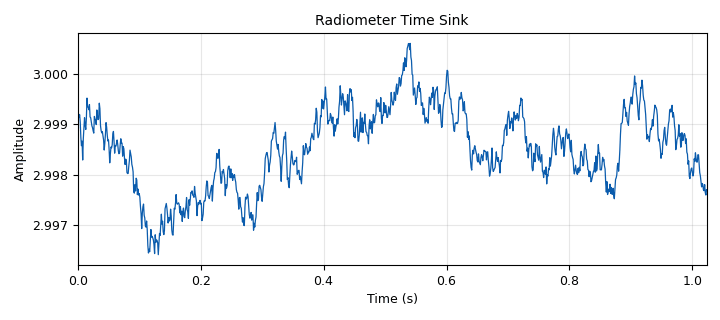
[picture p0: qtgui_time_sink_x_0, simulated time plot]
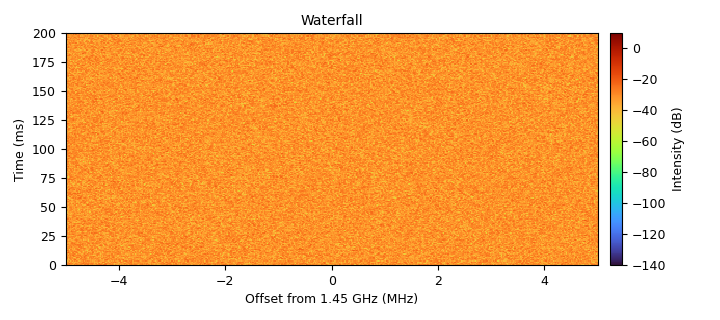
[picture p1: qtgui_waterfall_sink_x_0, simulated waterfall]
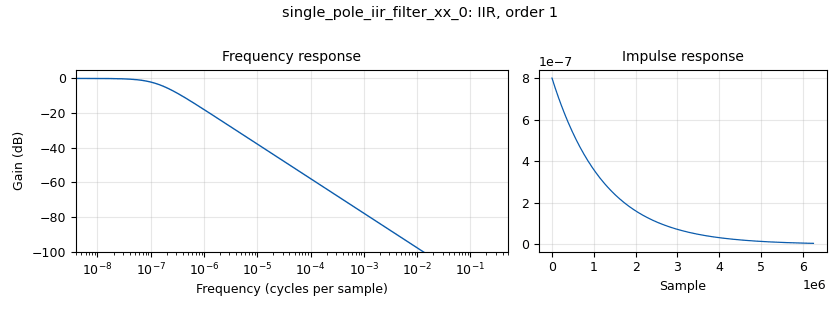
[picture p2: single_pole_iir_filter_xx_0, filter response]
options:
  parameters:
    generate_options: qt_gui
    id: gnu_radio_controller
    output_language: python
    title: Radiometer control script
  states: {}

blocks:
- name: IntegrationTime
  id: variable_qtgui_range
  parameters:
    gui_hint: 6,0,1,1
    label: Integration Time
    start: '0'
    step: '0.2'
    stop: '10'
    value: '8'
  states: {}
- name: IntegrationTimeLong
  id: variable
  parameters:
    value: '8'
  states: {}
- name: IntegrationTimeShort
  id: variable
  parameters:
    value: '0.8'
  states: {}
- name: average_power
  id: variable
  parameters:
    value: '3'
  states: {}
- name: center_frequency
  id: variable
  parameters:
    value: 1450E6
  states: {}
- name: csv_file_path
  id: variable
  parameters:
    value: '"../../../data/radiometer_data_1"'
  states: {}
- name: file_write_rate
  id: variable
  parameters:
    value: '10'
  states: {}
- name: ingest_data
  id: variable_qtgui_chooser
  parameters:
    gui_hint: 6,1,1,1
    label: Ingest data ?
    label0: Stop
    label1: Start
    num_opts: '2'
    option0: '0'
    option1: '1'
    type: int
    value: '0'
    widget: radio_buttons
  states: {}
- name: intermediate_rate
  id: variable
  parameters:
    value: '1000'
  states: {}
- name: local_oscillator
  id: variable
  parameters:
    value: 1.0E9
  states: {}
- name: noise_atm_zenith
  id: variable_qtgui_range
  parameters:
    gui_hint: 2,0,1,2
    label: Atm Zenith
    start: '0'
    step: '0.2'
    stop: '10'
    value: '1'
  states: {}
- name: noise_cmb
  id: variable_qtgui_range
  parameters:
    gui_hint: 0,0,1,2
    label: 'CMB            '
    start: '0'
    step: '0.2'
    stop: '10'
    value: '1'
  states: {}
- name: noise_sys
  id: variable_qtgui_range
  parameters:
    gui_hint: 1,0,1,2
    label: 'System       '
    start: '0'
    step: '0.2'
    stop: '10'
    value: '1'
  states: {}
- name: rho
  id: variable
  parameters:
    value: '0'
  states: {}
- name: samp_rate
  id: variable
  parameters:
    value: 10E6
  states: {}
- name: std_dev_power
  id: variable
  parameters:
    value: '0.000025'
  states: {}
- name: analog_noise_source_x_0
  id: analog_noise_source_x
  parameters:
    amp: noise_cmb
    noise_type: analog.GR_UNIFORM
    seed: '0'
    type: complex
  states: {}
- name: analog_noise_source_x_0_0
  id: analog_noise_source_x
  parameters:
    amp: noise_sys
    noise_type: analog.GR_UNIFORM
    seed: '0'
    type: complex
  states: {}
- name: analog_noise_source_x_0_0_0
  id: analog_noise_source_x
  parameters:
    amp: noise_atm_zenith
    noise_type: analog.GR_UNIFORM
    seed: '0'
    type: complex
  states: {}
- name: blocks_add_xx_0
  id: blocks_add_xx
  parameters:
    num_inputs: '3'
    type: complex
  states: {}
- name: blocks_complex_to_mag_squared_1
  id: blocks_complex_to_mag_squared
  parameters: {}
  states: {}
- name: blocks_file_sink_0
  id: blocks_file_sink
  parameters:
    file: csv_file_path
    type: float
  states: {state: disabled}
- name: blocks_keep_one_in_n_0
  id: blocks_keep_one_in_n
  parameters:
    n: int(samp_rate/intermediate_rate)
    type: float
  states: {}
- name: blocks_keep_one_in_n_0_0
  id: blocks_keep_one_in_n
  parameters:
    n: int(intermediate_rate/file_write_rate)
    type: float
  states: {}
- name: blocks_moving_average_xx_0
  id: blocks_moving_average_xx
  parameters:
    length: '1000'
    max_iter: '4000'
    scale: '0.001'
    type: float
  states: {}
- name: blocks_multiply_const_vxx_0
  id: blocks_multiply_const_vxx
  parameters:
    const: '1'
    type: complex
  states: {}
- name: blocks_null_sink_0
  id: blocks_null_sink
  parameters:
    type: float
  states: {}
- name: blocks_selector_0
  id: blocks_selector
  parameters:
    enabled: 'True'
    input_index: '0'
    num_inputs: '1'
    num_outputs: '2'
    output_index: ingest_data
    type: float
  states: {}
- name: import_0
  id: import
  parameters:
    imports: import datetime
  states: {}
- name: import_0_0
  id: import
  parameters:
    imports: import numpy as np
  states: {}
- name: moving_average
  id: qtgui_number_sink
  parameters:
    graph_type: qtgui.NUM_GRAPH_NONE
    gui_hint: 7,1,1,1
    name: Moving Average
    type: float
  states: {}
- name: note_0
  id: note
  parameters:
    note: Simulation circuit
  states: {}
- name: note_0_0
  id: note
  parameters:
    note: airspy r2 input, bias tee off, IQ output
  states: {}
- name: note_1
  id: note
  parameters:
    note: Blocks start
  states: {}
- name: num_sink_1
  id: qtgui_number_sink
  parameters:
    graph_type: qtgui.NUM_GRAPH_NONE
    gui_hint: 7,0,1,1
    name: Power undecimated
    type: float
  states: {}
- name: osmosdr_source_0
  id: osmosdr_source
  parameters:
    args: airspy=0,bias=0,pack=0
    bb_gain0: '10'
    freq0: center_frequency
    gain0: '0'
    gain_mode0: 'False'
    if_gain0: '10'
    sample_rate: samp_rate
    sync: sync
    time_source0: gpsdo
    type: fc32
  states: {state: disabled}
- name: qtgui_histogram_sink_x_0_0
  id: qtgui_histogram_sink_x
  parameters:
    accum: 'True'
    alpha1: '0.8'
    bins: '1000'
    grid: 'True'
    gui_hint: 5,1,1,1
    label1: Bin counts
    marker1: '0'
    name: Histogram
    size: '1'
    style1: '4'
    type: float
    xmax: average_power+std_dev_power*4
    xmin: average_power-std_dev_power*4
  states: {}
- name: qtgui_time_sink_x_0
  id: qtgui_time_sink_x
  parameters:
    autoscale: 'True'
    entags: 'False'
    gui_hint: 5,0,1,1
    name: Radiometer Time Sink
    size: '1024'
    srate: intermediate_rate
    type: float
    update_time: '0.1'
    ymax: '20'
    yunit: dB*
  states: {}
- name: qtgui_waterfall_sink_x_0
  id: qtgui_waterfall_sink_x
  parameters:
    bw: samp_rate
    fc: center_frequency
    fftsize: '1024'
    gui_hint: 3,0,2,2
    name: Waterfall
    type: complex
  states: {}
- name: single_pole_iir_filter_xx_0
  id: single_pole_iir_filter_xx
  parameters:
    alpha: 1/samp_rate*IntegrationTime
    type: float
  states: {}

connections:
- [analog_noise_source_x_0, '0', blocks_add_xx_0, '0']
- [analog_noise_source_x_0_0, '0', blocks_add_xx_0, '1']
- [analog_noise_source_x_0_0_0, '0', blocks_add_xx_0, '2']
- [blocks_add_xx_0, '0', blocks_multiply_const_vxx_0, '0']
- [blocks_complex_to_mag_squared_1, '0', single_pole_iir_filter_xx_0, '0']
- [blocks_keep_one_in_n_0, '0', blocks_moving_average_xx_0, '0']
- [blocks_keep_one_in_n_0, '0', num_sink_1, '0']
- [blocks_keep_one_in_n_0, '0', qtgui_time_sink_x_0, '0']
- [blocks_keep_one_in_n_0_0, '0', blocks_file_sink_0, '0']
- [blocks_keep_one_in_n_0_0, '0', qtgui_histogram_sink_x_0_0, '0']
- [blocks_moving_average_xx_0, '0', blocks_selector_0, '0']
- [blocks_multiply_const_vxx_0, '0', blocks_complex_to_mag_squared_1, '0']
- [blocks_multiply_const_vxx_0, '0', qtgui_waterfall_sink_x_0, '0']
- [blocks_selector_0, '0', blocks_null_sink_0, '0']
- [blocks_selector_0, '1', blocks_keep_one_in_n_0_0, '0']
- [blocks_selector_0, '1', moving_average, '0']
- [osmosdr_source_0, '0', blocks_complex_to_mag_squared_1, '0']
- [osmosdr_source_0, '0', qtgui_waterfall_sink_x_0, '0']
- [single_pole_iir_filter_xx_0, '0', blocks_keep_one_in_n_0, '0']

metadata:
  file_format: 1
